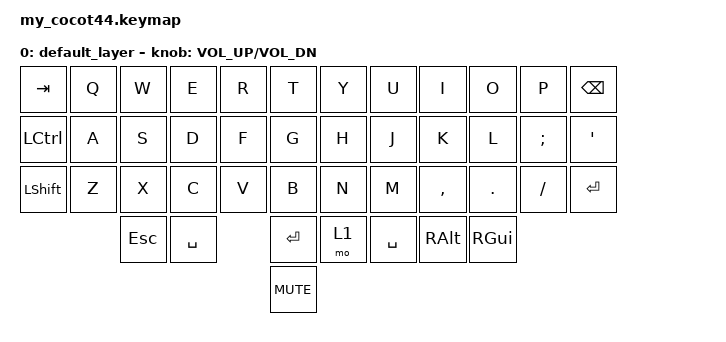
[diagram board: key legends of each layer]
#include <behaviors.dtsi>
#include <dt-bindings/zmk/keys.h>

/ {
    keymap {
        compatible = "zmk,keymap";

        default_layer {
            bindings = <
                &kp TAB   &kp Q &kp W &kp E &kp R &kp T         &kp Y &kp U &kp I     &kp O   &kp P    &kp BSPC
                &kp LCTRL &kp A &kp S &kp D &kp F &kp G         &kp H &kp J &kp K     &kp L   &kp SEMI &kp SQT
                &kp LSHFT &kp Z &kp X &kp C &kp V &kp B         &kp N &kp M &kp COMMA &kp DOT &kp FSLH &kp RET
                                &kp ESC &kp SPACE &kp ENTER &mo 1     &kp SPACE &kp RALT &kp RGUI
                                                  &kp C_MUTE
            >;
            sensor-bindings = <&inc_dec_kp C_VOL_UP C_VOL_DN>;
        };
    };
};
